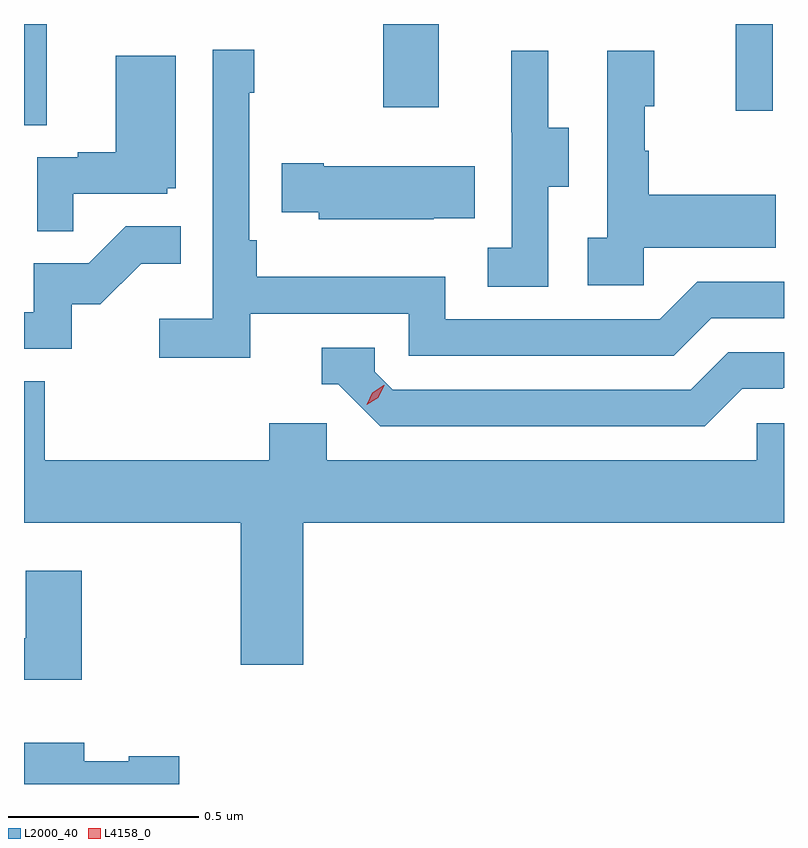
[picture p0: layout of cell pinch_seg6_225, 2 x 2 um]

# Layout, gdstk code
import gdstk
lib = gdstk.Library(unit=1e-6, precision=1e-09)
def R(c, l, rs):  # rectangles x0, y0, x1, y1
    for r in rs: c.add(gdstk.rectangle(r[:2], r[2:], *l))
def P(c, l, *ps):  # polygons
    for p in ps: c.add(gdstk.Polygon(p, *l))
L2000_40 = (2000, 40)
L4158_0 = (4158, 0)

pinch_seg6_225 = lib.new_cell('pinch_seg6_225')
R(pinch_seg6_225, L2000_40, [(1111.489,928.402,1111.549,928.668), (1113.362,928.44,1113.459,928.668), (1112.434,928.449,1112.581,928.668)])
P(pinch_seg6_225, L2000_40, [(1112.084,927.906),(1112.502,927.906),(1112.502,927.795),(1113.199,927.795),(1113.298,927.894),(1113.489,927.894),(1113.489,927.99),(1113.261,927.99),(1113.162,927.891),(1112.598,927.891),(1112.598,928.003),(1112.102,928.003),(1112.102,928.099),(1112.082,928.099),(1112.082,928.487),(1112.095,928.487),(1112.095,928.6),(1111.986,928.6),(1111.986,927.892),(1111.845,927.892),(1111.845,927.79),(1112.084,927.79)],
  [(1113.12,928.079),(1113.467,928.079),(1113.467,928.219),(1113.133,928.219),(1113.133,928.334),(1113.123,928.334),(1113.123,928.452),(1113.148,928.452),(1113.148,928.597),(1113.024,928.597),(1113.024,928.106),(1112.973,928.106),(1112.973,927.981),(1113.12,927.981)],
  [(1112.868,928.24),(1112.923,928.24),(1112.923,928.395),(1112.869,928.395),(1112.869,928.597),(1112.771,928.597),(1112.771,928.383),(1112.772,928.383),(1112.772,928.079),(1112.709,928.079),(1112.709,927.976),(1112.868,927.976)],
  [(1111.619,928.221),(1111.866,928.221),(1111.866,928.236),(1111.888,928.236),(1111.888,928.585),(1111.73,928.585),(1111.73,928.33),(1111.631,928.33),(1111.631,928.317),(1111.524,928.317),(1111.524,928.123),(1111.619,928.123)],
  [(1112.567,928.157),(1112.675,928.157),(1112.675,928.294),(1112.278,928.294),(1112.278,928.302),(1112.167,928.302),(1112.167,928.172),(1112.265,928.172),(1112.265,928.154),(1112.567,928.154)],
  [(1111.614,927.93),(1111.69,927.93),(1111.797,928.037),(1111.901,928.037),(1111.901,928.136),(1111.757,928.136),(1111.659,928.038),(1111.515,928.038),(1111.515,927.909),(1111.489,927.909),(1111.489,927.813),(1111.614,927.813)],
  [(1113.379,927.708),(1113.486,927.708),(1113.486,927.711),(1113.489,927.711),(1113.489,927.804),(1113.342,927.804),(1113.243,927.705),(1112.46,927.705),(1112.412,927.753),(1112.412,927.816),(1112.273,927.816),(1112.273,927.72),(1112.316,927.72),(1112.427,927.609),(1113.28,927.609)],
  [(1111.489,927.728),(1111.489,927.356),(1112.06,927.356),(1112.06,926.982),(1112.224,926.982),(1112.224,927.356),(1113.489,927.356),(1113.489,927.618),(1113.417,927.618),(1113.417,927.52),(1112.286,927.52),(1112.286,927.618),(1112.135,927.618),(1112.135,927.52),(1111.544,927.52),(1111.544,927.728)],
  [(1111.641,927.229),(1111.493,927.229),(1111.493,927.052),(1111.489,927.052),(1111.489,926.942),(1111.641,926.942)],
  [(1111.897,926.741),(1111.764,926.741),(1111.764,926.728),(1111.648,926.728),(1111.648,926.776),(1111.489,926.776),(1111.489,926.668),(1111.897,926.668)])
P(pinch_seg6_225, L4158_0, [(1112.391,927.666),(1112.391,927.666),(1112.406,927.698),(1112.436,927.718),(1112.437,927.718),(1112.437,927.718),(1112.421,927.685),(1112.391,927.666)])

lib.write_gds('pinch_seg6_225.gds')
